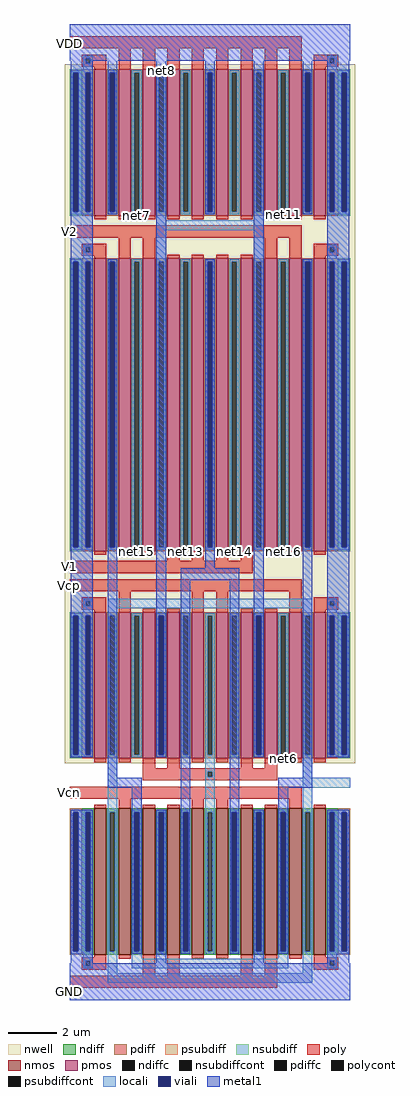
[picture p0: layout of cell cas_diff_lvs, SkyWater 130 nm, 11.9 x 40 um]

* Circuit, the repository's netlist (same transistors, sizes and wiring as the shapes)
* SPICE3 file created from /home/madvlsi/MADVLSI/mini3/layout/cas_diff_lvs.ext - technology: sky130A


* Top level circuit /home/madvlsi/MADVLSI/mini3/layout/cas_diff_lvs

X0 a_n700_4180# Vbn GND GND sky130_fd_pr__nfet_01v8 ad=6e+12p pd=2.6e+07u as=1.2e+13p ps=5.2e+07u w=6e+06u l=500000u
X1 a_n700_870# Vcp net6 VDD sky130_fd_pr__pfet_01v8 ad=6e+12p pd=2.6e+07u as=3e+12p ps=1.3e+07u w=6e+06u l=500000u
X2 VDD VDD VDD VDD sky130_fd_pr__pfet_01v8 ad=3.9e+13p pd=1.67e+08u as=0p ps=0u w=6e+06u l=500000u
X3 a_n100_2480# a_n400_2300# VDD VDD sky130_fd_pr__pfet_01v8 ad=3e+12p pd=1.3e+07u as=0p ps=0u w=6e+06u l=500000u
X4 net8 V2 net15 VDD sky130_fd_pr__pfet_01v8 ad=1.8e+13p pd=7.6e+07u as=6e+12p ps=2.5e+07u w=1.2e+07u l=500000u
X5 net14 V1 a_n100_870# VDD sky130_fd_pr__pfet_01v8 ad=6e+12p pd=2.5e+07u as=6e+12p ps=2.5e+07u w=1.2e+07u l=500000u
X6 a_n100_870# Vcn a_n400_2300# GND sky130_fd_pr__nfet_01v8 ad=6e+12p pd=2.6e+07u as=3e+12p ps=1.3e+07u w=6e+06u l=500000u
X7 net7 Vbp VDD VDD sky130_fd_pr__pfet_01v8 ad=3e+12p pd=1.3e+07u as=0p ps=0u w=6e+06u l=500000u
X8 net8 Vbp a_300_6930# VDD sky130_fd_pr__pfet_01v8 ad=0p pd=0u as=3e+12p ps=1.3e+07u w=6e+06u l=500000u
X9 a_n400_2300# Vcp a_n100_2480# VDD sky130_fd_pr__pfet_01v8 ad=3e+12p pd=1.3e+07u as=0p ps=0u w=6e+06u l=500000u
X10 a_n700_870# VDD VDD VDD sky130_fd_pr__pfet_01v8 ad=0p pd=0u as=0p ps=0u w=6e+06u l=500000u
X11 net6 a_n400_2300# VDD VDD sky130_fd_pr__pfet_01v8 ad=0p pd=0u as=0p ps=0u w=6e+06u l=500000u
X12 a_n700_4180# V2 net16 VDD sky130_fd_pr__pfet_01v8 ad=1.2e+13p pd=5e+07u as=6e+12p ps=2.5e+07u w=1.2e+07u l=500000u
X13 a_n700_4180# Vcn a_n700_870# GND sky130_fd_pr__nfet_01v8 ad=0p pd=0u as=6e+12p ps=2.6e+07u w=6e+06u l=500000u
X14 a_n400_2300# Vcn a_n100_870# GND sky130_fd_pr__nfet_01v8 ad=0p pd=0u as=0p ps=0u w=6e+06u l=500000u
X15 net13 V1 net8 VDD sky130_fd_pr__pfet_01v8 ad=6e+12p pd=2.5e+07u as=0p ps=0u w=1.2e+07u l=500000u
X16 GND GND a_n700_870# GND sky130_fd_pr__nfet_01v8 ad=0p pd=0u as=0p ps=0u w=6e+06u l=500000u
X17 net8 Vbp net7 VDD sky130_fd_pr__pfet_01v8 ad=0p pd=0u as=0p ps=0u w=6e+06u l=500000u
X18 a_300_6930# Vbp VDD VDD sky130_fd_pr__pfet_01v8 ad=0p pd=0u as=0p ps=0u w=6e+06u l=500000u
X19 VDD VDD a_n700_870# VDD sky130_fd_pr__pfet_01v8 ad=0p pd=0u as=0p ps=0u w=6e+06u l=500000u
X20 a_n700_870# Vcn a_n700_4180# GND sky130_fd_pr__nfet_01v8 ad=0p pd=0u as=0p ps=0u w=6e+06u l=500000u
X21 a_n100_870# V1 net13 VDD sky130_fd_pr__pfet_01v8 ad=0p pd=0u as=0p ps=0u w=1.2e+07u l=500000u
X22 a_n100_870# Vbn GND GND sky130_fd_pr__nfet_01v8 ad=0p pd=0u as=0p ps=0u w=6e+06u l=500000u
X23 a_n500_2480# Vcp a_n700_870# VDD sky130_fd_pr__pfet_01v8 ad=3e+12p pd=1.3e+07u as=0p ps=0u w=6e+06u l=500000u
X24 VDD a_n400_2300# a_300_2480# VDD sky130_fd_pr__pfet_01v8 ad=0p pd=0u as=3e+12p ps=1.3e+07u w=6e+06u l=500000u
X25 a_n700_4180# VDD VDD VDD sky130_fd_pr__pfet_01v8 ad=0p pd=0u as=0p ps=0u w=1.2e+07u l=500000u
X26 net16 V2 net8 VDD sky130_fd_pr__pfet_01v8 ad=0p pd=0u as=0p ps=0u w=1.2e+07u l=500000u
X27 GND Vbn a_n100_870# GND sky130_fd_pr__nfet_01v8 ad=0p pd=0u as=0p ps=0u w=6e+06u l=500000u
X28 VDD Vbp net11 VDD sky130_fd_pr__pfet_01v8 ad=0p pd=0u as=3e+12p ps=1.3e+07u w=6e+06u l=500000u
X29 a_n100_6930# Vbp net8 VDD sky130_fd_pr__pfet_01v8 ad=3e+12p pd=1.3e+07u as=0p ps=0u w=6e+06u l=500000u
X30 VDD VDD a_n700_4180# VDD sky130_fd_pr__pfet_01v8 ad=0p pd=0u as=0p ps=0u w=1.2e+07u l=500000u
X31 a_n700_870# GND GND GND sky130_fd_pr__nfet_01v8 ad=0p pd=0u as=0p ps=0u w=6e+06u l=500000u
X32 VDD Vbp a_n100_6930# VDD sky130_fd_pr__pfet_01v8 ad=0p pd=0u as=0p ps=0u w=6e+06u l=500000u
X33 VDD a_n400_2300# a_n500_2480# VDD sky130_fd_pr__pfet_01v8 ad=0p pd=0u as=0p ps=0u w=6e+06u l=500000u
X34 a_300_2480# Vcp a_n400_2300# VDD sky130_fd_pr__pfet_01v8 ad=0p pd=0u as=0p ps=0u w=6e+06u l=500000u
X35 net15 V2 a_n700_4180# VDD sky130_fd_pr__pfet_01v8 ad=0p pd=0u as=0p ps=0u w=1.2e+07u l=500000u
X36 net8 V1 net14 VDD sky130_fd_pr__pfet_01v8 ad=0p pd=0u as=0p ps=0u w=1.2e+07u l=500000u
X37 VDD VDD VDD VDD sky130_fd_pr__pfet_01v8 ad=0p pd=0u as=0p ps=0u w=6e+06u l=500000u
X38 net11 Vbp net8 VDD sky130_fd_pr__pfet_01v8 ad=0p pd=0u as=0p ps=0u w=6e+06u l=500000u
X39 GND Vbn a_n700_4180# GND sky130_fd_pr__nfet_01v8 ad=0p pd=0u as=0p ps=0u w=6e+06u l=500000u
.end

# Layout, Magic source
magic
tech sky130A
<< nwell >>
rect -520 1220 670 4085
<< nmos >>
rect -400 435 -350 1035
rect -300 435 -250 1035
rect -200 435 -150 1035
rect -100 435 -50 1035
rect 0 435 50 1035
rect 100 435 150 1035
rect 200 435 250 1035
rect 300 435 350 1035
rect 400 435 450 1035
rect 500 435 550 1035
<< pmos >>
rect -400 3465 -350 4065
rect -300 3465 -250 4065
rect -200 3465 -150 4065
rect -100 3465 -50 4065
rect 0 3465 50 4065
rect 100 3465 150 4065
rect 200 3465 250 4065
rect 300 3465 350 4065
rect 400 3465 450 4065
rect 500 3465 550 4065
rect -400 2090 -350 3290
rect -300 2090 -250 3290
rect -200 2090 -150 3290
rect -100 2090 -50 3290
rect 0 2090 50 3290
rect 100 2090 150 3290
rect 200 2090 250 3290
rect 300 2090 350 3290
rect 400 2090 450 3290
rect 500 2090 550 3290
rect -400 1240 -350 1840
rect -300 1240 -250 1840
rect -200 1240 -150 1840
rect -100 1240 -50 1840
rect 0 1240 50 1840
rect 100 1240 150 1840
rect 200 1240 250 1840
rect 300 1240 350 1840
rect 400 1240 450 1840
rect 500 1240 550 1840
<< ndiff >>
rect -450 1020 -400 1035
rect -450 450 -435 1020
rect -415 450 -400 1020
rect -450 435 -400 450
rect -350 1020 -300 1035
rect -350 450 -335 1020
rect -315 450 -300 1020
rect -350 435 -300 450
rect -250 1020 -200 1035
rect -250 450 -235 1020
rect -215 450 -200 1020
rect -250 435 -200 450
rect -150 1020 -100 1035
rect -150 450 -135 1020
rect -115 450 -100 1020
rect -150 435 -100 450
rect -50 1020 0 1035
rect -50 450 -35 1020
rect -15 450 0 1020
rect -50 435 0 450
rect 50 1020 100 1035
rect 50 450 65 1020
rect 85 450 100 1020
rect 50 435 100 450
rect 150 1020 200 1035
rect 150 450 165 1020
rect 185 450 200 1020
rect 150 435 200 450
rect 250 1020 300 1035
rect 250 450 265 1020
rect 285 450 300 1020
rect 250 435 300 450
rect 350 1020 400 1035
rect 350 450 365 1020
rect 385 450 400 1020
rect 350 435 400 450
rect 450 1020 500 1035
rect 450 450 465 1020
rect 485 450 500 1020
rect 450 435 500 450
rect 550 1020 600 1035
rect 550 450 565 1020
rect 585 450 600 1020
rect 550 435 600 450
<< pdiff >>
rect -450 4050 -400 4065
rect -450 3480 -435 4050
rect -415 3480 -400 4050
rect -450 3465 -400 3480
rect -350 4050 -300 4065
rect -350 3480 -335 4050
rect -315 3480 -300 4050
rect -350 3465 -300 3480
rect -250 4050 -200 4065
rect -250 3480 -235 4050
rect -215 3480 -200 4050
rect -250 3465 -200 3480
rect -150 4050 -100 4065
rect -150 3480 -135 4050
rect -115 3480 -100 4050
rect -150 3465 -100 3480
rect -50 4050 0 4065
rect -50 3480 -35 4050
rect -15 3480 0 4050
rect -50 3465 0 3480
rect 50 4050 100 4065
rect 50 3480 65 4050
rect 85 3480 100 4050
rect 50 3465 100 3480
rect 150 4050 200 4065
rect 150 3480 165 4050
rect 185 3480 200 4050
rect 150 3465 200 3480
rect 250 4050 300 4065
rect 250 3480 265 4050
rect 285 3480 300 4050
rect 250 3465 300 3480
rect 350 4050 400 4065
rect 350 3480 365 4050
rect 385 3480 400 4050
rect 350 3465 400 3480
rect 450 4050 500 4065
rect 450 3480 465 4050
rect 485 3480 500 4050
rect 450 3465 500 3480
rect 550 4050 600 4065
rect 550 3480 565 4050
rect 585 3480 600 4050
rect 550 3465 600 3480
rect -450 3275 -400 3290
rect -450 2105 -435 3275
rect -415 2105 -400 3275
rect -450 2090 -400 2105
rect -350 3275 -300 3290
rect -350 2105 -335 3275
rect -315 2105 -300 3275
rect -350 2090 -300 2105
rect -250 3275 -200 3290
rect -250 2105 -235 3275
rect -215 2105 -200 3275
rect -250 2090 -200 2105
rect -150 3275 -100 3290
rect -150 2105 -135 3275
rect -115 2105 -100 3275
rect -150 2090 -100 2105
rect -50 3275 0 3290
rect -50 2105 -35 3275
rect -15 2105 0 3275
rect -50 2090 0 2105
rect 50 3275 100 3290
rect 50 2105 65 3275
rect 85 2105 100 3275
rect 50 2090 100 2105
rect 150 3275 200 3290
rect 150 2105 165 3275
rect 185 2105 200 3275
rect 150 2090 200 2105
rect 250 3275 300 3290
rect 250 2105 265 3275
rect 285 2105 300 3275
rect 250 2090 300 2105
rect 350 3275 400 3290
rect 350 2105 365 3275
rect 385 2105 400 3275
rect 350 2090 400 2105
rect 450 3275 500 3290
rect 450 2105 465 3275
rect 485 2105 500 3275
rect 450 2090 500 2105
rect 550 3275 600 3290
rect 550 2105 565 3275
rect 585 2105 600 3275
rect 550 2090 600 2105
rect -450 1825 -400 1840
rect -450 1255 -435 1825
rect -415 1255 -400 1825
rect -450 1240 -400 1255
rect -350 1825 -300 1840
rect -350 1255 -335 1825
rect -315 1255 -300 1825
rect -350 1240 -300 1255
rect -250 1825 -200 1840
rect -250 1255 -235 1825
rect -215 1255 -200 1825
rect -250 1240 -200 1255
rect -150 1825 -100 1840
rect -150 1255 -135 1825
rect -115 1255 -100 1825
rect -150 1240 -100 1255
rect -50 1825 0 1840
rect -50 1255 -35 1825
rect -15 1255 0 1825
rect -50 1240 0 1255
rect 50 1825 100 1840
rect 50 1255 65 1825
rect 85 1255 100 1825
rect 50 1240 100 1255
rect 150 1825 200 1840
rect 150 1255 165 1825
rect 185 1255 200 1825
rect 150 1240 200 1255
rect 250 1825 300 1840
rect 250 1255 265 1825
rect 285 1255 300 1825
rect 250 1240 300 1255
rect 350 1825 400 1840
rect 350 1255 365 1825
rect 385 1255 400 1825
rect 350 1240 400 1255
rect 450 1825 500 1840
rect 450 1255 465 1825
rect 485 1255 500 1825
rect 450 1240 500 1255
rect 550 1825 600 1840
rect 550 1255 565 1825
rect 585 1255 600 1825
rect 550 1240 600 1255
<< ndiffc >>
rect -435 450 -415 1020
rect -335 450 -315 1020
rect -235 450 -215 1020
rect -135 450 -115 1020
rect -35 450 -15 1020
rect 65 450 85 1020
rect 165 450 185 1020
rect 265 450 285 1020
rect 365 450 385 1020
rect 465 450 485 1020
rect 565 450 585 1020
<< pdiffc >>
rect -435 3480 -415 4050
rect -335 3480 -315 4050
rect -235 3480 -215 4050
rect -135 3480 -115 4050
rect -35 3480 -15 4050
rect 65 3480 85 4050
rect 165 3480 185 4050
rect 265 3480 285 4050
rect 365 3480 385 4050
rect 465 3480 485 4050
rect 565 3480 585 4050
rect -435 2105 -415 3275
rect -335 2105 -315 3275
rect -235 2105 -215 3275
rect -135 2105 -115 3275
rect -35 2105 -15 3275
rect 65 2105 85 3275
rect 165 2105 185 3275
rect 265 2105 285 3275
rect 365 2105 385 3275
rect 465 2105 485 3275
rect 565 2105 585 3275
rect -435 1255 -415 1825
rect -335 1255 -315 1825
rect -235 1255 -215 1825
rect -135 1255 -115 1825
rect -35 1255 -15 1825
rect 65 1255 85 1825
rect 165 1255 185 1825
rect 265 1255 285 1825
rect 365 1255 385 1825
rect 465 1255 485 1825
rect 565 1255 585 1825
<< psubdiff >>
rect -500 1020 -450 1035
rect -500 450 -485 1020
rect -465 450 -450 1020
rect -500 435 -450 450
rect 600 1020 650 1035
rect 600 450 615 1020
rect 635 450 650 1020
rect 600 435 650 450
<< nsubdiff >>
rect -500 4050 -450 4065
rect -500 3480 -485 4050
rect -465 3480 -450 4050
rect -500 3465 -450 3480
rect 600 4050 650 4065
rect 600 3480 615 4050
rect 635 3480 650 4050
rect 600 3465 650 3480
rect -500 3275 -450 3290
rect -500 2105 -485 3275
rect -465 2105 -450 3275
rect -500 2090 -450 2105
rect 600 3275 650 3290
rect 600 2105 615 3275
rect 635 2105 650 3275
rect 600 2090 650 2105
rect -500 1825 -450 1840
rect -500 1255 -485 1825
rect -465 1255 -450 1825
rect -500 1240 -450 1255
rect 600 1825 650 1840
rect 600 1255 615 1825
rect 635 1255 650 1825
rect 600 1240 650 1255
<< psubdiffcont >>
rect -485 450 -465 1020
rect 615 450 635 1020
<< nsubdiffcont >>
rect -485 3480 -465 4050
rect 615 3480 635 4050
rect -485 2105 -465 3275
rect 615 2105 635 3275
rect -485 1255 -465 1825
rect 615 1255 635 1825
<< poly >>
rect -500 4150 450 4200
rect -450 4110 -350 4125
rect -450 4090 -435 4110
rect -415 4090 -350 4110
rect -450 4075 -350 4090
rect -400 4065 -350 4075
rect -300 4065 -250 4150
rect -200 4065 -150 4150
rect -100 4065 -50 4150
rect 0 4065 50 4150
rect 100 4065 150 4150
rect 200 4065 250 4150
rect 300 4065 350 4150
rect 400 4065 450 4150
rect 500 4110 600 4125
rect 500 4090 565 4110
rect 585 4090 600 4110
rect 500 4075 600 4090
rect 500 4065 550 4075
rect -400 3450 -350 3465
rect -300 3450 -250 3465
rect -200 3450 -150 3465
rect -100 3450 -50 3465
rect 0 3450 50 3465
rect 100 3450 150 3465
rect 200 3450 250 3465
rect 300 3450 350 3465
rect 400 3450 450 3465
rect 500 3450 550 3465
rect -500 3375 450 3425
rect -450 3335 -350 3350
rect -450 3315 -435 3335
rect -415 3315 -350 3335
rect -450 3300 -350 3315
rect -400 3290 -350 3300
rect -300 3290 -250 3375
rect -200 3290 -150 3375
rect -100 3290 -50 3305
rect 0 3290 50 3305
rect 100 3290 150 3305
rect 200 3290 250 3305
rect 300 3290 350 3375
rect 400 3290 450 3375
rect 500 3335 600 3350
rect 500 3315 565 3335
rect 585 3315 600 3335
rect 500 3300 600 3315
rect 500 3290 550 3300
rect -400 2075 -350 2090
rect -300 2075 -250 2090
rect -200 2075 -150 2090
rect -100 2050 -50 2090
rect 0 2050 50 2090
rect 100 2050 150 2090
rect 200 2050 250 2090
rect 300 2075 350 2090
rect 400 2075 450 2090
rect 500 2075 550 2090
rect -500 2000 250 2050
rect -500 1925 450 1975
rect -450 1885 -350 1900
rect -450 1865 -435 1885
rect -415 1865 -350 1885
rect -450 1850 -350 1865
rect -400 1840 -350 1850
rect -300 1840 -250 1925
rect -200 1840 -150 1855
rect -100 1840 -50 1855
rect 0 1840 50 1925
rect 100 1840 150 1925
rect 200 1840 250 1855
rect 300 1840 350 1855
rect 400 1840 450 1925
rect 500 1885 600 1900
rect 500 1865 565 1885
rect 585 1865 600 1885
rect 500 1850 600 1865
rect 500 1840 550 1850
rect -400 1225 -350 1240
rect -300 1225 -250 1240
rect -200 1200 -150 1240
rect -100 1200 -50 1240
rect 0 1225 50 1240
rect 100 1225 150 1240
rect 200 1200 250 1240
rect 300 1200 350 1240
rect 400 1225 450 1240
rect 500 1225 550 1240
rect -200 1185 350 1200
rect -200 1165 65 1185
rect 85 1165 350 1185
rect -200 1150 350 1165
rect -500 1075 450 1125
rect -400 1035 -350 1050
rect -300 1035 -250 1075
rect -200 1035 -150 1050
rect -100 1035 -50 1050
rect 0 1035 50 1075
rect 100 1035 150 1075
rect 200 1035 250 1050
rect 300 1035 350 1050
rect 400 1035 450 1075
rect 500 1035 550 1050
rect -400 425 -350 435
rect -450 410 -350 425
rect -300 420 -250 435
rect -450 390 -435 410
rect -415 390 -350 410
rect -450 375 -350 390
rect -200 350 -150 435
rect -100 350 -50 435
rect 0 420 50 435
rect 100 420 150 435
rect 200 350 250 435
rect 300 350 350 435
rect 400 420 450 435
rect 500 425 550 435
rect 500 410 600 425
rect 500 390 565 410
rect 585 390 600 410
rect 500 375 600 390
rect -500 300 350 350
<< polycont >>
rect -435 4090 -415 4110
rect 565 4090 585 4110
rect -435 3315 -415 3335
rect 565 3315 585 3335
rect -435 1865 -415 1885
rect 565 1865 585 1885
rect 65 1165 85 1185
rect -435 390 -415 410
rect 565 390 585 410
<< locali >>
rect -445 4110 -405 4120
rect -445 4090 -435 4110
rect -415 4090 -405 4110
rect -445 4060 -405 4090
rect 555 4110 595 4120
rect 555 4090 565 4110
rect 585 4090 595 4110
rect 555 4060 595 4090
rect -495 4050 -405 4060
rect -495 3480 -485 4050
rect -465 3480 -435 4050
rect -415 3480 -405 4050
rect -495 3470 -405 3480
rect -345 4050 -305 4060
rect -345 3480 -335 4050
rect -315 3480 -305 4050
rect -345 3470 -305 3480
rect -245 4050 -205 4060
rect -245 3480 -235 4050
rect -215 3480 -205 4050
rect -245 3470 -205 3480
rect -145 4050 -105 4060
rect -145 3480 -135 4050
rect -115 3480 -105 4050
rect -145 3445 -105 3480
rect -45 4050 -5 4060
rect -45 3480 -35 4050
rect -15 3480 -5 4050
rect -45 3470 -5 3480
rect 55 4050 95 4060
rect 55 3480 65 4050
rect 85 3480 95 4050
rect 55 3470 95 3480
rect 155 4050 195 4060
rect 155 3480 165 4050
rect 185 3480 195 4050
rect 155 3470 195 3480
rect 255 4050 295 4060
rect 255 3480 265 4050
rect 285 3480 295 4050
rect 255 3445 295 3480
rect 355 4050 395 4060
rect 355 3480 365 4050
rect 385 3480 395 4050
rect 355 3470 395 3480
rect 455 4050 495 4060
rect 455 3480 465 4050
rect 485 3480 495 4050
rect 455 3470 495 3480
rect 555 4050 645 4060
rect 555 3480 565 4050
rect 585 3480 615 4050
rect 635 3480 645 4050
rect 555 3470 645 3480
rect -145 3405 295 3445
rect -445 3335 -405 3345
rect -445 3315 -435 3335
rect -415 3315 -405 3335
rect -445 3285 -405 3315
rect -495 3275 -405 3285
rect -495 2105 -485 3275
rect -465 2105 -435 3275
rect -415 2105 -405 3275
rect -495 2095 -405 2105
rect -345 3275 -305 3285
rect -345 2105 -335 3275
rect -315 2105 -305 3275
rect -345 2095 -305 2105
rect -245 3275 -205 3285
rect -245 2105 -235 3275
rect -215 2105 -205 3275
rect -245 2095 -205 2105
rect -145 3275 -105 3405
rect -145 2105 -135 3275
rect -115 2105 -105 3275
rect -145 2095 -105 2105
rect -45 3275 -5 3285
rect -45 2105 -35 3275
rect -15 2105 -5 3275
rect -45 2095 -5 2105
rect 55 3275 95 3285
rect 55 2105 65 3275
rect 85 2105 95 3275
rect 55 2095 95 2105
rect 155 3275 195 3285
rect 155 2105 165 3275
rect 185 2105 195 3275
rect 155 2095 195 2105
rect 255 3275 295 3405
rect 555 3335 595 3345
rect 555 3315 565 3335
rect 585 3315 595 3335
rect 555 3285 595 3315
rect 255 2105 265 3275
rect 285 2105 295 3275
rect 255 2095 295 2105
rect 355 3275 395 3285
rect 355 2105 365 3275
rect 385 2105 395 3275
rect 355 2095 395 2105
rect 455 3275 495 3285
rect 455 2105 465 3275
rect 485 2105 495 3275
rect 455 2095 495 2105
rect 555 3275 645 3285
rect 555 2105 565 3275
rect 585 2105 615 3275
rect 635 2105 645 3275
rect 555 2095 645 2105
rect -445 1885 -405 1895
rect -445 1865 -435 1885
rect -415 1865 -405 1885
rect -445 1835 -405 1865
rect -495 1825 -405 1835
rect -495 1255 -485 1825
rect -465 1255 -435 1825
rect -415 1255 -405 1825
rect -495 1245 -405 1255
rect -345 1855 495 1895
rect -345 1825 -305 1855
rect -345 1255 -335 1825
rect -315 1255 -305 1825
rect -495 1020 -405 1030
rect -495 450 -485 1020
rect -465 450 -435 1020
rect -415 450 -405 1020
rect -495 440 -405 450
rect -445 410 -405 440
rect -445 390 -435 410
rect -415 390 -405 410
rect -445 380 -405 390
rect -345 1020 -305 1255
rect -245 1825 -205 1835
rect -245 1255 -235 1825
rect -215 1255 -205 1825
rect -245 1245 -205 1255
rect -145 1825 -105 1835
rect -145 1255 -135 1825
rect -115 1255 -105 1825
rect -145 1245 -105 1255
rect -45 1825 -5 1835
rect -45 1255 -35 1825
rect -15 1255 -5 1825
rect -45 1245 -5 1255
rect 55 1825 95 1835
rect 55 1255 65 1825
rect 85 1255 95 1825
rect 55 1185 95 1255
rect 155 1825 195 1835
rect 155 1255 165 1825
rect 185 1255 195 1825
rect 155 1245 195 1255
rect 255 1825 295 1835
rect 255 1255 265 1825
rect 285 1255 295 1825
rect 255 1245 295 1255
rect 355 1825 395 1835
rect 355 1255 365 1825
rect 385 1255 395 1825
rect 355 1245 395 1255
rect 455 1825 495 1855
rect 455 1255 465 1825
rect 485 1255 495 1825
rect 55 1165 65 1185
rect 85 1165 95 1185
rect -345 450 -335 1020
rect -315 450 -305 1020
rect -345 360 -305 450
rect -245 1020 -205 1030
rect -245 450 -235 1020
rect -215 450 -205 1020
rect -245 420 -205 450
rect -145 1020 -105 1030
rect -145 450 -135 1020
rect -115 450 -105 1020
rect -145 440 -105 450
rect -45 1020 -5 1030
rect -45 450 -35 1020
rect -15 450 -5 1020
rect -45 440 -5 450
rect 55 1020 95 1165
rect 455 1160 495 1255
rect 555 1885 595 1895
rect 555 1865 565 1885
rect 585 1865 595 1885
rect 555 1835 595 1865
rect 555 1825 645 1835
rect 555 1255 565 1825
rect 585 1255 615 1825
rect 635 1255 645 1825
rect 555 1245 645 1255
rect 455 1120 650 1160
rect 55 450 65 1020
rect 85 450 95 1020
rect 55 440 95 450
rect 155 1020 195 1030
rect 155 450 165 1020
rect 185 450 195 1020
rect 155 440 195 450
rect 255 1020 295 1030
rect 255 450 265 1020
rect 285 450 295 1020
rect 255 440 295 450
rect 355 1020 395 1030
rect 355 450 365 1020
rect 385 450 395 1020
rect 355 420 395 450
rect -245 380 395 420
rect 455 1020 495 1120
rect 455 450 465 1020
rect 485 450 495 1020
rect 455 360 495 450
rect 555 1020 645 1030
rect 555 450 565 1020
rect 585 450 615 1020
rect 635 450 645 1020
rect 555 440 645 450
rect 555 410 595 440
rect 555 390 565 410
rect 585 390 595 410
rect 555 380 595 390
rect -345 320 495 360
<< viali >>
rect -485 3480 -465 4050
rect -435 3480 -415 4050
rect -335 3480 -315 4050
rect 65 3480 85 4050
rect 465 3480 485 4050
rect 565 3480 585 4050
rect 615 3480 635 4050
rect -485 2105 -465 3275
rect -435 2105 -415 3275
rect -335 2105 -315 3275
rect 65 2105 85 3275
rect 465 2105 485 3275
rect 565 2105 585 3275
rect 615 2105 635 3275
rect -485 1255 -465 1825
rect -435 1255 -415 1825
rect -485 450 -465 1020
rect -435 450 -415 1020
rect -135 1255 -115 1825
rect 265 1255 285 1825
rect -235 450 -215 1020
rect -135 450 -115 1020
rect -35 450 -15 1020
rect 565 1255 585 1825
rect 615 1255 635 1825
rect 165 450 185 1020
rect 265 450 285 1020
rect 365 450 385 1020
rect 565 450 585 1020
rect 615 450 635 1020
<< metal1 >>
rect -500 4100 650 4250
rect -495 4050 -405 4100
rect -495 3480 -485 4050
rect -465 3480 -435 4050
rect -415 3480 -405 4050
rect -495 3275 -405 3480
rect -345 4050 -305 4100
rect -345 3480 -335 4050
rect -315 3480 -305 4050
rect -345 3470 -305 3480
rect -495 2105 -485 3275
rect -465 2105 -435 3275
rect -415 2105 -405 3275
rect -495 1825 -405 2105
rect -495 1255 -485 1825
rect -465 1255 -435 1825
rect -415 1255 -405 1825
rect -495 1245 -405 1255
rect -345 3275 -305 3285
rect -345 2105 -335 3275
rect -315 2105 -305 3275
rect -345 1160 -305 2105
rect -145 1825 -105 4100
rect 55 4050 95 4100
rect 55 3480 65 4050
rect 85 3480 95 4050
rect 55 3470 95 3480
rect 55 3275 95 3285
rect 55 2105 65 3275
rect 85 2105 95 3275
rect 55 2020 95 2105
rect -145 1255 -135 1825
rect -115 1255 -105 1825
rect -145 1245 -105 1255
rect -45 1970 195 2020
rect -345 1120 -205 1160
rect -495 1020 -405 1030
rect -495 450 -485 1020
rect -465 450 -435 1020
rect -415 450 -405 1020
rect -495 400 -405 450
rect -245 1020 -205 1120
rect -245 450 -235 1020
rect -215 450 -205 1020
rect -245 440 -205 450
rect -145 1020 -105 1030
rect -145 450 -135 1020
rect -115 450 -105 1020
rect -145 400 -105 450
rect -45 1020 -5 1970
rect -45 450 -35 1020
rect -15 450 -5 1020
rect -45 440 -5 450
rect 155 1020 195 1970
rect 255 1825 295 4100
rect 455 4050 495 4100
rect 455 3480 465 4050
rect 485 3480 495 4050
rect 455 3470 495 3480
rect 555 4050 645 4100
rect 555 3480 565 4050
rect 585 3480 615 4050
rect 635 3480 645 4050
rect 255 1255 265 1825
rect 285 1255 295 1825
rect 255 1245 295 1255
rect 455 3275 495 3285
rect 455 2105 465 3275
rect 485 2105 495 3275
rect 455 1160 495 2105
rect 555 3275 645 3480
rect 555 2105 565 3275
rect 585 2105 615 3275
rect 635 2105 645 3275
rect 555 1825 645 2105
rect 555 1255 565 1825
rect 585 1255 615 1825
rect 635 1255 645 1825
rect 555 1245 645 1255
rect 355 1120 495 1160
rect 155 450 165 1020
rect 185 450 195 1020
rect 155 440 195 450
rect 255 1020 295 1030
rect 255 450 265 1020
rect 285 450 295 1020
rect 255 400 295 450
rect 355 1020 395 1120
rect 355 450 365 1020
rect 385 450 395 1020
rect 355 440 395 450
rect 555 1020 645 1030
rect 555 450 565 1020
rect 585 450 615 1020
rect 635 450 645 1020
rect 555 400 645 450
rect -500 250 650 400
<< labels >>
rlabel metal1 -500 4170 -500 4170 3 VDD
rlabel poly -500 4175 -500 4175 7 Vbp
rlabel poly -500 3400 -500 3400 7 V2
rlabel pdiff -225 3465 -225 3465 5 net7
rlabel locali -125 4060 -125 4060 1 net8
rlabel poly -500 2025 -500 2025 7 V1
rlabel locali 375 3470 375 3470 5 net11
rlabel pdiff 175 2090 175 2090 5 net14
rlabel pdiff -25 2090 -25 2090 5 net13
rlabel pdiff -225 2090 -225 2090 5 net15
rlabel pdiff 375 2090 375 2090 5 net16
rlabel pdiff 375 1240 375 1240 5 net6
rlabel metal1 -500 285 -500 285 3 GND
rlabel poly -500 1950 -500 1950 7 Vcp
rlabel poly -500 1100 -500 1100 7 Vcn
rlabel poly -500 325 -500 325 7 Vbn
<< end >>
